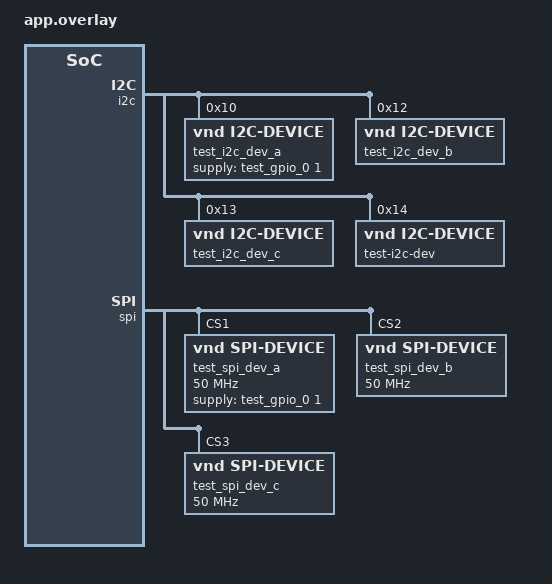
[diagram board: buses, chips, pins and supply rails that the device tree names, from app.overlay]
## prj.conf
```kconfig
CONFIG_ZTEST=y
CONFIG_I2C=n
CONFIG_SPI=n
CONFIG_ZTEST_NEW_API=y
CONFIG_DTS_BOOT_PRIORITY=y
CONFIG_I2C_STATS=y
```

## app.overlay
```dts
/*
 * Copyright (c) 2020 Nordic Semiconductor ASA
 *
 * SPDX-License-Identifier: Apache-2.0
 *
 * Application overlay for testing the devicetree.h API.
 *
 * Names in this file should be chosen in a way that won't conflict
 * with real-world devicetree nodes, to allow these tests to run on
 * (and be extended to test) real hardware.
 */

/ {
	test {
		#address-cells = <0x1>;
		#size-cells = <0x1>;

		test_gpio_0: gpio@ffff {
			gpio-controller;
			#gpio-cells = <0x2>;
			compatible = "vnd,gpio-device";
			status = "okay";
			reg = <0xffff 0x1000>;
		};

		i2c: i2c@11112222 {
			#address-cells = <1>;
			#size-cells = <0>;
			compatible = "vnd,i2c";
			status = "okay";
			reg = <0x11112222 0x1000>;

			test_i2c_dev_a: test-i2c-dev@10 {
				compatible = "vnd,i2c-device";
				status = "okay";
				reg = <0x10>;
				supply-gpios = <&test_gpio_0 1 0>;
			};

			test_i2c_dev_b: test-i2c-dev@12 {
				#address-cells = <1>;
				#size-cells = <0>;
				compatible = "vnd,i2c-device";
				status = "okay";
				reg = <0x12>;
			};

			test_i2c_dev_c: test-i2c-dev@13 {
				compatible = "vnd,i2c-device";
				reg = <0x13>;
				status = "okay";
			};

			test-i2c-dev@14 {
				compatible = "vnd,i2c-device";
				status = "okay";
				reg = <0x14>;
			};
		};

		spi: spi@44442222 {
			compatible = "vnd,spi";
			#address-cells = <1>;
			#size-cells = <0>;
			reg = <0x44442222 0x1000>;
			status = "okay";

			test_spi_dev_a: test-spi-dev@1 {
				compatible = "vnd,spi-device";
				status = "okay";
				reg = <0x1>;
				spi-max-frequency = <50000000>;
				supply-gpios = <&test_gpio_0 1 0>;
			};

			test_spi_dev_b: test-spi-dev@2 {
				compatible = "vnd,spi-device";
				status = "okay";
				spi-max-frequency = <50000000>;
				reg = <0x2>;
			};

			test_spi_dev_c: test-spi-dev@3 {
				compatible = "vnd,spi-device";
				reg = <0x3>;
				spi-max-frequency = <50000000>;
				status = "okay";
			};

		};
	};
};
```

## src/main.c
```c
/*
 * Copyright (c) 2020 Nordic Semiconductor ASA
 *
 * SPDX-License-Identifier: Apache-2.0
 */

#include <zephyr/ztest.h>
#include <zephyr/devicetree.h>
#include <zephyr/device.h>
#include <zephyr/drivers/gpio.h>
#include <zephyr/drivers/i2c.h>
#include <zephyr/drivers/spi.h>

#define TEST_GPIO        DT_NODELABEL(test_gpio_0)
#define TEST_I2C         DT_NODELABEL(i2c)
#define TEST_I2C_DEVA    DT_NODELABEL(test_i2c_dev_a)
#define TEST_I2C_DEVB    DT_NODELABEL(test_i2c_dev_b)
#define TEST_I2C_DEVC    DT_NODELABEL(test_i2c_dev_c)
#define TEST_I2C_NOLABEL DT_PATH(test, i2c_11112222, test_i2c_dev_14)
#define TEST_SPI         DT_NODELABEL(spi)
#define TEST_SPI_DEVA    DT_NODELABEL(test_spi_dev_a)
#define TEST_SPI_DEVB    DT_NODELABEL(test_spi_dev_b)
#define TEST_SPI_DEVC    DT_NODELABEL(test_spi_dev_c)

static const struct device *init_order[20];
static uint8_t init_idx;

#define DEF_DRV_INIT(node_id)                                                                      \
	static int DEV_INIT_##node_id(const struct device *dev)                                    \
	{                                                                                          \
		printk("%s %d\n", __func__, init_idx);                                             \
		__ASSERT_NO_MSG(init_idx < ARRAY_SIZE(init_order));                                \
		init_order[init_idx++] = dev;                                                      \
		return 0;                                                                          \
	}

#define DEFINE_DRV(node_id, level)                                                                 \
	DEVICE_DT_DEFINE(node_id, DEV_INIT_##node_id, NULL, NULL, NULL, level, 0, NULL)

DEF_DRV_INIT(TEST_GPIO)
DEF_DRV_INIT(TEST_I2C)
DEF_DRV_INIT(TEST_I2C_DEVA)
DEF_DRV_INIT(TEST_I2C_DEVB)
DEF_DRV_INIT(TEST_I2C_DEVC)
DEF_DRV_INIT(TEST_I2C_NOLABEL)
DEF_DRV_INIT(TEST_SPI)
DEF_DRV_INIT(TEST_SPI_DEVA)
DEF_DRV_INIT(TEST_SPI_DEVB)
DEF_DRV_INIT(TEST_SPI_DEVC)

DEFINE_DRV(TEST_GPIO, PRE_KERNEL_2);
DEFINE_DRV(TEST_I2C, POST_KERNEL);
DEFINE_DRV(TEST_I2C_DEVB, APPLICATION);
DEFINE_DRV(TEST_I2C_DEVC, POST_KERNEL);
DEFINE_DRV(TEST_I2C_DEVA, POST_KERNEL);
DEFINE_DRV(TEST_I2C_NOLABEL, PRE_KERNEL_1);
DEFINE_DRV(TEST_SPI, PRE_KERNEL_2);
DEFINE_DRV(TEST_SPI_DEVB, PRE_KERNEL_1);
DEFINE_DRV(TEST_SPI_DEVA, APPLICATION);
DEFINE_DRV(TEST_SPI_DEVC, PRE_KERNEL_1);

#define DEV_HDL(node_id)   DEVICE_DT_GET(node_id)
#define DEV_HDL_NAME(name) DEVICE_GET(name)

ZTEST(devicetree_devices, test_init_order)
{
	zassert_equal(init_order[0], DEV_HDL(TEST_GPIO));
	zassert_equal(init_order[1], DEV_HDL(TEST_SPI));
	zassert_equal(init_order[2], DEV_HDL(TEST_SPI_DEVB));
	zassert_equal(init_order[3], DEV_HDL(TEST_SPI_DEVC));
	zassert_equal(init_order[4], DEV_HDL(TEST_I2C));
	zassert_equal(init_order[5], DEV_HDL(TEST_I2C_DEVA));
	zassert_equal(init_order[6], DEV_HDL(TEST_I2C_DEVC));
	zassert_equal(init_order[7], DEV_HDL(TEST_I2C_NOLABEL));
	zassert_equal(init_order[8], DEV_HDL(TEST_I2C_DEVB));
	zassert_equal(init_order[9], DEV_HDL(TEST_SPI_DEVA));
}

ZTEST(devicetree_devices, test_get_or_null)
{
	const struct device *dev;

	dev = DEVICE_DT_GET_OR_NULL(TEST_I2C_DEVA);
	zassert_not_equal(dev, NULL, NULL);

	dev = DEVICE_DT_GET_OR_NULL(non_existing_node);
	zassert_is_null(dev);
}

ZTEST_SUITE(devicetree_devices, NULL, NULL, NULL, NULL, NULL);
```
